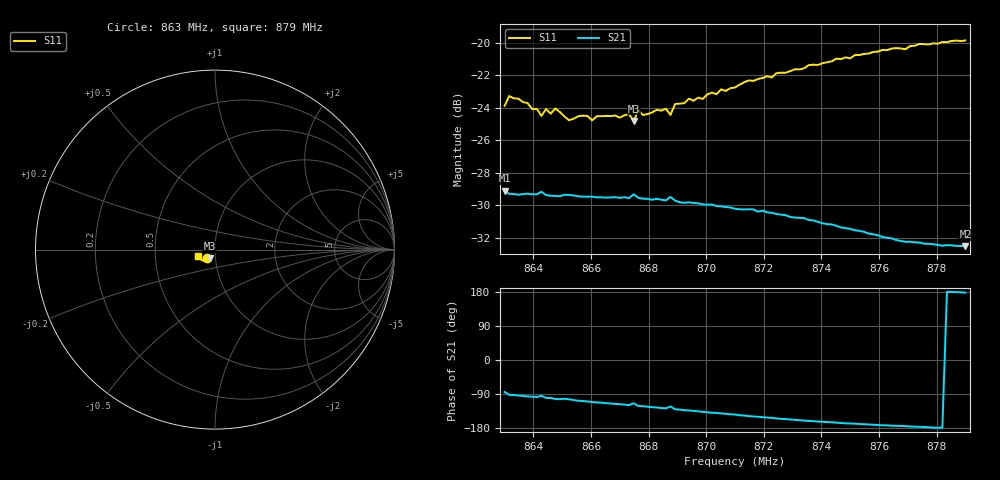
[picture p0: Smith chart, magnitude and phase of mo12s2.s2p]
# HZ S RI R 50
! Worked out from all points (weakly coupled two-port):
!   101 points, 863 MHz to 879 MHz, reference 50 ohm
!   highest |S21| = -29.09 dB at 863 MHz (marker M1); lowest = -32.5 dB at 879 MHz (marker M2)
!   lowest |S11| = -24.8 dB at 867.48 MHz (marker M3), VSWR 1.12, Z = 46.8 - j4.58 ohm
!   |S11| at or under -10 dB: start of sweep to end of sweep
!   S12 and S22 are empty: the file has one direction only
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8.63e8  -0.0456 -0.0448  0.00348 -0.0349  0 0  0 0
8.6316e8  -0.0529 -0.0436  -0.00117 -0.0343  0 0  0 0
8.638e8  -0.0495 -0.0424  -0.00362 -0.0342  0 0  0 0
8.6428e8  -0.041 -0.0432  -0.00281 -0.0347  0 0  0 0
8.6444e8  -0.0462 -0.0421  -0.00598 -0.0335  0 0  0 0
8.646e8  -0.044 -0.0415  -0.00596 -0.0333  0 0  0 0
8.6476e8  -0.047 -0.0416  -0.00754 -0.0329  0 0  0 0
8.6524e8  -0.0391 -0.0425  -0.00807 -0.0331  0 0  0 0
8.6572e8  -0.0405 -0.0438  -0.0105 -0.032  0 0  0 0
8.6604e8  -0.0386 -0.0429  -0.012 -0.0314  0 0  0 0
8.6732e8  -0.0378 -0.047  -0.0161 -0.0291  0 0  0 0
8.6748e8  -0.0303 -0.0488  -0.014 -0.0312  0 0  0 0
8.6764e8  -0.0384 -0.0485  -0.0173 -0.0285  0 0  0 0
8.678e8  -0.0365 -0.0476  -0.0175 -0.0281  0 0  0 0
8.6844e8  -0.0366 -0.0498  -0.0197 -0.0264  0 0  0 0
8.686e8  -0.0363 -0.051  -0.02 -0.0259  0 0  0 0
8.6876e8  -0.0283 -0.0529  -0.0181 -0.0283  0 0  0 0
8.6892e8  -0.0375 -0.0528  -0.021 -0.025  0 0  0 0
8.71e8  -0.0431 -0.0587  -0.0249 -0.0182  0 0  0 0
8.7372e8  -0.058 -0.0629  -0.0269 -0.00907  0 0  0 0
8.7644e8  -0.0804 -0.0523  -0.0249 -0.00285  0 0  0 0
8.79e8  -0.0951 -0.0355  -0.0237 0.000918  0 0  0 0
